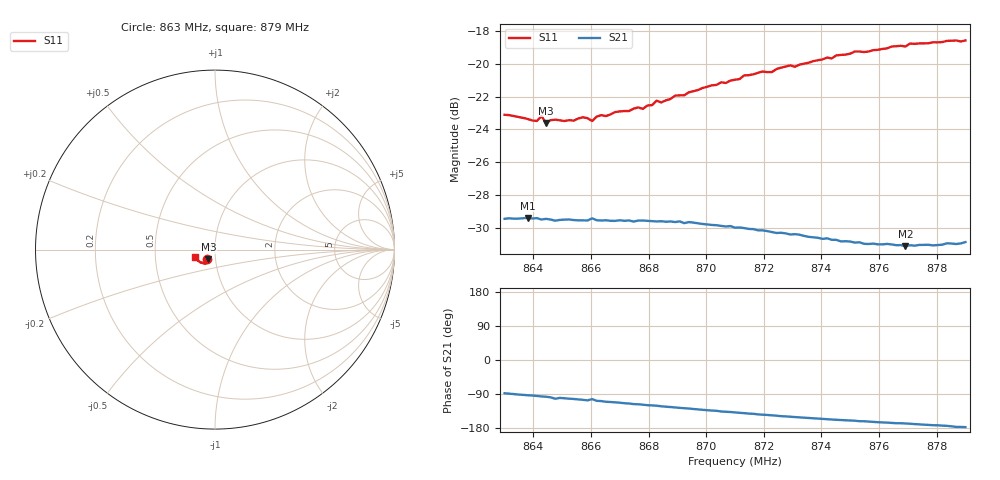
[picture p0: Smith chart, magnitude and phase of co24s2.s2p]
# HZ S RI R 50
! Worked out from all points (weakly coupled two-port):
!   101 points, 863 MHz to 879 MHz, reference 50 ohm
!   highest |S21| = -29.40 dB at 863.8 MHz (marker M1); lowest = -31.1 dB at 876.92 MHz (marker M2)
!   lowest |S11| = -23.6 dB at 864.44 MHz (marker M3), VSWR 1.14, Z = 46.1 - j5.06 ohm
!   |S11| at or under -10 dB: start of sweep to end of sweep
!   S12 and S22 are empty: the file has one direction only
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8.63e8  -0.0436 -0.0547  0.00137 -0.0336  0 0  0 0
8.638e8  -0.0399 -0.055  -0.00177 -0.0338  0 0  0 0
8.6412e8  -0.0382 -0.055  -0.00286 -0.0337  0 0  0 0
8.6428e8  -0.0386 -0.0576  -0.00358 -0.0333  0 0  0 0
8.6444e8  -0.0372 -0.0546  -0.00409 -0.0334  0 0  0 0
8.646e8  -0.037 -0.0563  -0.00494 -0.0331  0 0  0 0
8.6572e8  -0.0347 -0.0593  -0.00868 -0.0322  0 0  0 0
8.6604e8  -0.0321 -0.0588  -0.00771 -0.0329  0 0  0 0
8.6636e8  -0.0357 -0.06  -0.0105 -0.0316  0 0  0 0
8.6764e8  -0.0344 -0.0652  -0.015 -0.0297  0 0  0 0
8.678e8  -0.035 -0.064  -0.0156 -0.0294  0 0  0 0
8.6828e8  -0.0358 -0.0684  -0.0168 -0.0284  0 0  0 0
8.6844e8  -0.0368 -0.0668  -0.0176 -0.028  0 0  0 0
8.6892e8  -0.0387 -0.0701  -0.019 -0.0269  0 0  0 0
8.71e8  -0.0487 -0.0751  -0.0236 -0.021  0 0  0 0
8.7132e8  -0.0519 -0.0763  -0.0243 -0.0202  0 0  0 0
8.7228e8  -0.057 -0.0753  -0.0254 -0.0171  0 0  0 0
8.7372e8  -0.0691 -0.0751  -0.0265 -0.0131  0 0  0 0
8.7644e8  -0.0943 -0.0623  -0.0273 -0.00681  0 0  0 0
8.7692e8  -0.0967 -0.0585  -0.0271 -0.00601  0 0  0 0
8.7708e8  -0.0994 -0.0586  -0.0274 -0.00572  0 0  0 0
8.79e8  -0.1115 -0.0386  -0.0286 -0.00144  0 0  0 0
